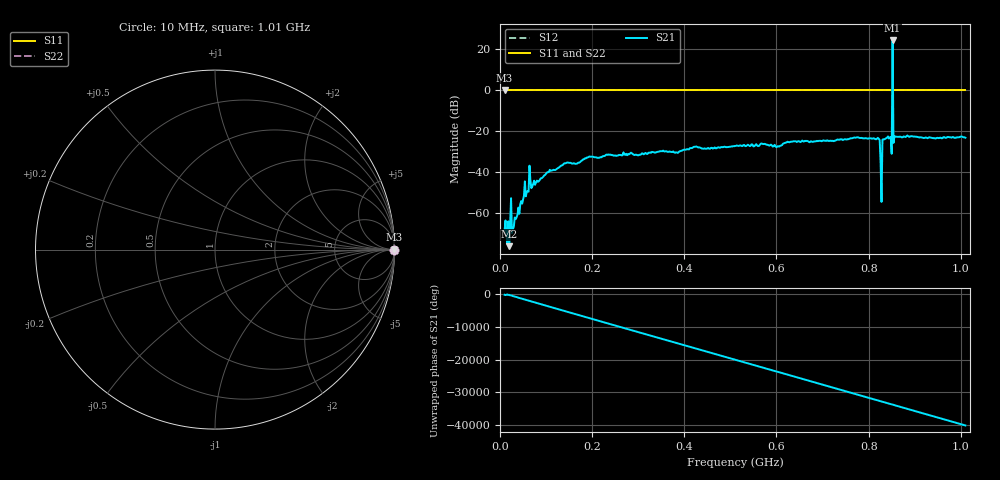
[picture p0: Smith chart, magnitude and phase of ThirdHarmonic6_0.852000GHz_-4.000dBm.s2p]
! 8/16/2025 4:11:31 AM
! C:\ANRITSUVNA\TEMP\TEMP.S2P
! CHANNEL.1
! TR.MEASUREMENT
! RAW.DATA
! RF.CORRECTION.OFF
! AVERAGING.OFF
! IF.BANDWIDTH: 5KHZ
! SWEEPTYPE:  FREQ.SWEEP(Linear)
! Reference Plane Port Info
! PORT:  PORT1  PORT2
! DISTANCE:  0  m  0  m
! TIME:  0  s  0  s
! PHASE.OFFSET:  0  deg.  0  deg.
! LOSS:  0  dB  0  dB
! REF.LOSS:  0  dB  0  dB
! REF.FREQ:  0  Hz  0  Hz
! Power Info
! POWER:  -20  dBm  -20  dBm
! EFF.POWER:  -20  dBm  -20  dBm
! SOURCE.ATTEN:  0  dB  0  dB
! TEST.ATTEN:  0  dB  0  dB
# GHZ S RI R 50.0
! FREQ.GHZ  S11RE  S11IM  S21RE  S21IM  S12RE  S12IM  S22RE  S22IM
!; PortSelection: Port_12
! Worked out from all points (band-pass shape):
!   501 points, 10 MHz to 1.01 GHz, reference 50 ohm
!   highest |S21| = 24.01 dB at 852 MHz (marker M1); lowest = -75.9 dB at 20 MHz (marker M2)
!   |S21| within 3 dB of the highest: 851.8911 MHz to 852.1206 MHz (229.5 kHz wide, 0.0269 % of centre)
!   lowest |S11| = 0.0 dB at 10 MHz (marker M3)
!   |S11| at or under -10 dB: nowhere
!   |S22| runs from 0.0 to 0.0 dB; largest |S21 - S12| = 16
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0.01  1 0  -0.000351 -0.000177  1 0  1 0
0.018  1 0  -0.000569 0.000296  1 0  1 0
0.02  1 0  -0.000159 -1.74e-05  1 0  1 0
0.03  1 0  -9.78e-05 0.000463  1 0  1 0
0.068  1 0  0.00351 -0.00214  1 0  1 0
0.178  1 0  -0.0188 -0.00463  1 0  1 0
0.344  1 0  0.031 -0.00535  1 0  1 0
0.51  1 0  -0.0419 0.0115  1 0  1 0
0.678  1 0  -0.0196 -0.0508  1 0  1 0
0.818  1 0  0.0626 0.0176  1 0  1 0
0.822  1 0  -0.0573 -0.0304  1 0  1 0
0.824  1 0  -0.038 0.0469  1 0  1 0
0.828  1 0  0.00184 -0.00049  1 0  1 0
0.832  1 0  -0.0628 0.00829  1 0  1 0
0.834  1 0  -0.00443 0.0627  1 0  1 0
0.844  1 0  0.0408 0.0515  1 0  1 0
0.846  1 0  0.0613 -0.0337  1 0  1 0
0.848  1 0  -0.0243 -0.0677  1 0  1 0
0.852  1 0  -9.549 12.68  1 0  1 0
0.856  1 0  0.0199 -0.072  1 0  1 0
0.858  1 0  -0.0672 -0.0297  1 0  1 0
1.01  1 0  -0.0629 -0.028  1 0  1 0
